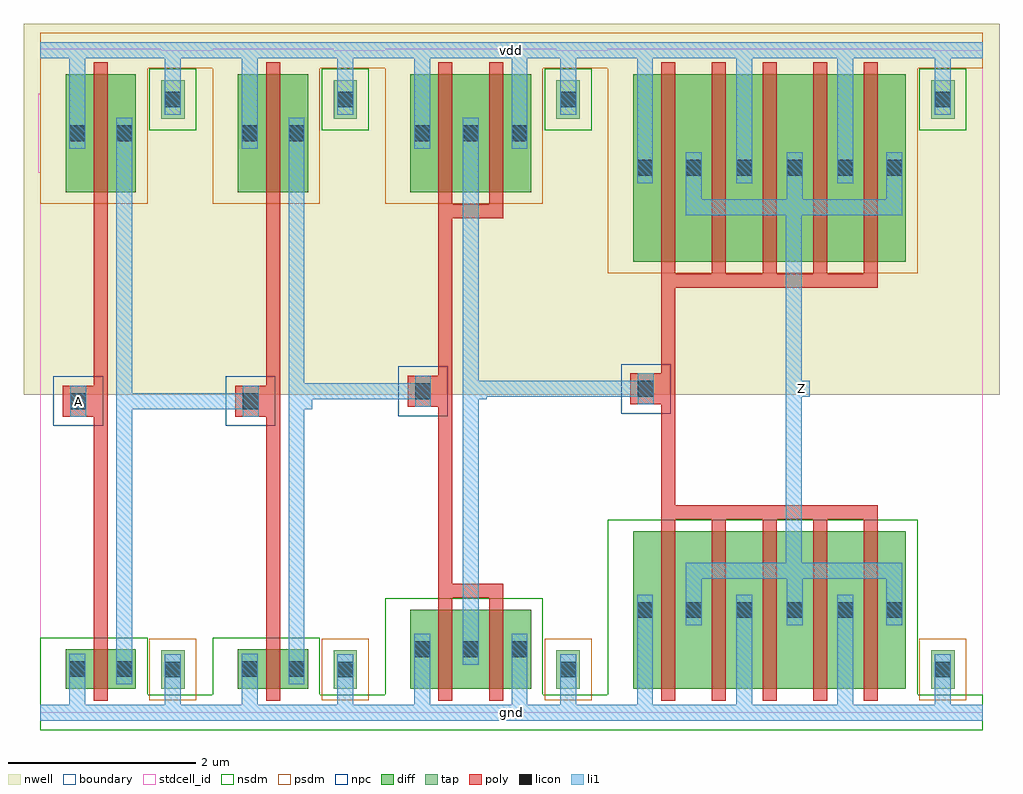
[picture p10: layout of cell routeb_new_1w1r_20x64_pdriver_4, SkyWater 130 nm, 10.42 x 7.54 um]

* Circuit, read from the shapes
.subckt routeb_new_1w1r_20x64_pdriver_4 A Z gnd vdd
XM1 routeb_new_1w1r_20x64_pinv_4_1/A A gnd gnd sky130_fd_pr__nfet_01v8 w=0.42 l=0.15
XM2 routeb_new_1w1r_20x64_pinv_5_2/A routeb_new_1w1r_20x64_pinv_4_1/A gnd gnd sky130_fd_pr__nfet_01v8 w=0.42 l=0.15
XM3 routeb_new_1w1r_20x64_pinv_9_3/A routeb_new_1w1r_20x64_pinv_5_2/A gnd gnd sky130_fd_pr__nfet_01v8 w=0.84 l=0.15 m=2
XM4 Z routeb_new_1w1r_20x64_pinv_9_3/A gnd gnd sky130_fd_pr__nfet_01v8 w=1.68 l=0.15 m=5
XM5 routeb_new_1w1r_20x64_pinv_4_1/A A vdd vdd sky130_fd_pr__pfet_01v8 w=1.26 l=0.15
XM6 routeb_new_1w1r_20x64_pinv_5_2/A routeb_new_1w1r_20x64_pinv_4_1/A vdd vdd sky130_fd_pr__pfet_01v8 w=1.26 l=0.15
XM7 routeb_new_1w1r_20x64_pinv_9_3/A routeb_new_1w1r_20x64_pinv_5_2/A vdd vdd sky130_fd_pr__pfet_01v8 w=1.26 l=0.15 m=2
XM8 Z routeb_new_1w1r_20x64_pinv_9_3/A vdd vdd sky130_fd_pr__pfet_01v8 w=2 l=0.15 m=5
.ends

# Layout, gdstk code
import gdstk
lib = gdstk.Library(unit=1e-6, precision=1e-09)
def R(c, l, rs):  # rectangles x0, y0, x1, y1
    for r in rs: c.add(gdstk.rectangle(r[:2], r[2:], *l))
def A(c, l, x, y, w, h, nx, ny, dx, dy):  # array of equal rectangles
    R(c, l, [(x+i*dx, y+j*dy, x+i*dx+w, y+j*dy+h) for i in range(nx) for j in range(ny)])
nwell = (64, 20)
diff = (65, 20)
tap = (65, 44)
poly = (66, 20)
licon = (66, 44)
li1 = (67, 20)
stdcell_id = (81, 4)
nsdm = (93, 44)
psdm = (94, 20)
npc = (95, 20)
boundary = (235, 4)

routeb_new_1w1r_20x64_co = lib.new_cell('routeb_new_1w1r_20x64_contact_11')
R(routeb_new_1w1r_20x64_co, nwell, [(-0.295,-0.255,0.545,0.585)])
R(routeb_new_1w1r_20x64_co, diff, [(0,0.02,0.25,0.31)])
R(routeb_new_1w1r_20x64_co, licon, [(0.04,0.08,0.21,0.25)])
R(routeb_new_1w1r_20x64_co, li1, [(0.04,0,0.21,0.33)])
R(routeb_new_1w1r_20x64_co, stdcell_id, [(-0.295,-0.255,0.545,0.585)])
R(routeb_new_1w1r_20x64_co, psdm, [(-0.125,-0.105,0.375,0.435)])
R(routeb_new_1w1r_20x64_co, boundary, [(-0.295,-0.255,0.545,0.585)])

routeb_new_1w1r_20x64_pm = lib.new_cell('routeb_new_1w1r_20x64_pmos_m1_w1_260_sli_dli_da_p')
R(routeb_new_1w1r_20x64_pm, nwell, [(-0.27,-0.27,1.02,1.53)])
R(routeb_new_1w1r_20x64_pm, diff, [(0,0,0.75,1.26)])
R(routeb_new_1w1r_20x64_pm, poly, [(0.3,-0.13,0.45,1.39), (0.3,-0.13,0.45,1.39)])
R(routeb_new_1w1r_20x64_pm, li1, [(0.04,0.465,0.21,0.795), (0.54,0.465,0.71,0.795)])
R(routeb_new_1w1r_20x64_pm, stdcell_id, [(-0.27,-0.27,1.02,1.53)])
R(routeb_new_1w1r_20x64_pm, psdm, [(-0.125,-0.125,0.875,1.385)])
R(routeb_new_1w1r_20x64_pm, boundary, [(-0.27,-0.27,1.02,1.53)])
routeb_new_1w1r_20x64_pm.add(gdstk.Reference(routeb_new_1w1r_20x64_co, (0,0.465)))
routeb_new_1w1r_20x64_pm.add(gdstk.Reference(routeb_new_1w1r_20x64_co, (0.5,0.465)))
routeb_new_1w1r_20x64_pm.add(gdstk.Label('G', (0.375,0.63), layer=66, texttype=5))
routeb_new_1w1r_20x64_pm.add(gdstk.Label('S', (0.125,0.63), layer=67, texttype=5))
routeb_new_1w1r_20x64_pm.add(gdstk.Label('D', (0.625,0.63), layer=67, texttype=5))

c_routeb_new_1w1r_20x64_co = lib.new_cell('routeb_new_1w1r_20x64_contact_10')
R(c_routeb_new_1w1r_20x64_co, diff, [(0,0.02,0.25,0.31)])
R(c_routeb_new_1w1r_20x64_co, licon, [(0.04,0.08,0.21,0.25)])
R(c_routeb_new_1w1r_20x64_co, li1, [(0.04,0,0.21,0.33)])
R(c_routeb_new_1w1r_20x64_co, stdcell_id, [(-0.125,-0.105,0.375,0.435)])
R(c_routeb_new_1w1r_20x64_co, nsdm, [(-0.125,-0.105,0.375,0.435)])
R(c_routeb_new_1w1r_20x64_co, boundary, [(-0.125,-0.105,0.375,0.435)])

routeb_new_1w1r_20x64_nm = lib.new_cell('routeb_new_1w1r_20x64_nmos_m1_w0_420_sli_dli_da_p')
R(routeb_new_1w1r_20x64_nm, diff, [(0,0,0.75,0.42)])
R(routeb_new_1w1r_20x64_nm, poly, [(0.3,-0.13,0.45,0.55), (0.3,-0.13,0.45,0.55)])
R(routeb_new_1w1r_20x64_nm, li1, [(0.04,0.045,0.21,0.375), (0.54,0.045,0.71,0.375)])
R(routeb_new_1w1r_20x64_nm, stdcell_id, [(-0.125,-0.13,0.875,0.55)])
R(routeb_new_1w1r_20x64_nm, nsdm, [(-0.125,-0.125,0.875,0.545)])
R(routeb_new_1w1r_20x64_nm, boundary, [(-0.125,-0.13,0.875,0.55)])
routeb_new_1w1r_20x64_nm.add(gdstk.Reference(c_routeb_new_1w1r_20x64_co, (0,0.045)))
routeb_new_1w1r_20x64_nm.add(gdstk.Reference(c_routeb_new_1w1r_20x64_co, (0.5,0.045)))
routeb_new_1w1r_20x64_nm.add(gdstk.Label('G', (0.375,0.21), layer=66, texttype=5))
routeb_new_1w1r_20x64_nm.add(gdstk.Label('S', (0.125,0.21), layer=67, texttype=5))
routeb_new_1w1r_20x64_nm.add(gdstk.Label('D', (0.625,0.21), layer=67, texttype=5))

c_routeb_new_1w1r_20x64_co_ = lib.new_cell('routeb_new_1w1r_20x64_contact_24')
R(c_routeb_new_1w1r_20x64_co_, nwell, [(-0.295,-0.215,0.545,0.625)])
R(c_routeb_new_1w1r_20x64_co_, tap, [(0,0,0.25,0.41)])
R(c_routeb_new_1w1r_20x64_co_, licon, [(0.04,0.12,0.21,0.29)])
R(c_routeb_new_1w1r_20x64_co_, li1, [(0.04,0.04,0.21,0.37)])
R(c_routeb_new_1w1r_20x64_co_, stdcell_id, [(-0.295,-0.215,0.545,0.625)])
R(c_routeb_new_1w1r_20x64_co_, nsdm, [(-0.125,-0.125,0.375,0.535)])
R(c_routeb_new_1w1r_20x64_co_, boundary, [(-0.295,-0.215,0.545,0.625)])

c_routeb_new_1w1r_20x64_co__ = lib.new_cell('routeb_new_1w1r_20x64_contact_25')
R(c_routeb_new_1w1r_20x64_co__, tap, [(0,0,0.25,0.41)])
R(c_routeb_new_1w1r_20x64_co__, licon, [(0.04,0.12,0.21,0.29)])
R(c_routeb_new_1w1r_20x64_co__, li1, [(0.04,0.04,0.21,0.37)])
R(c_routeb_new_1w1r_20x64_co__, stdcell_id, [(-0.125,-0.125,0.375,0.535)])
R(c_routeb_new_1w1r_20x64_co__, psdm, [(-0.125,-0.125,0.375,0.535)])
R(c_routeb_new_1w1r_20x64_co__, boundary, [(-0.125,-0.125,0.375,0.535)])

c_routeb_new_1w1r_20x64_co___ = lib.new_cell('routeb_new_1w1r_20x64_contact_15')
R(c_routeb_new_1w1r_20x64_co___, poly, [(0,0,0.33,0.33)])
R(c_routeb_new_1w1r_20x64_co___, licon, [(0.08,0.08,0.25,0.25)])
R(c_routeb_new_1w1r_20x64_co___, li1, [(0.08,0,0.25,0.33)])
R(c_routeb_new_1w1r_20x64_co___, stdcell_id, [(-0.1,-0.1,0.43,0.43)])
R(c_routeb_new_1w1r_20x64_co___, npc, [(-0.1,-0.1,0.43,0.43)])
R(c_routeb_new_1w1r_20x64_co___, boundary, [(-0.1,-0.1,0.43,0.43)])

routeb_new_1w1r_20x64_pi = lib.new_cell('routeb_new_1w1r_20x64_pinv_4')
R(routeb_new_1w1r_20x64_pi, nwell, [(-0.18,3.395,2.02,7.355)])
R(routeb_new_1w1r_20x64_pi, poly, [(0.57,0.805,0.72,5.425), (0.405,3.16,0.57,3.49)])
R(routeb_new_1w1r_20x64_pi, li1, [(0,-0.085,1.84,0.085), (0.31,-0.085,0.48,0.3), (1.33,0,1.5,0.46), (0.81,0.3,0.98,6.35), (0.32,3.16,0.49,3.49), (0.895,3.24,1.065,3.41), (0.31,6.02,0.48,7.155), (1.33,6.545,1.5,7.07), (0,6.985,1.84,7.155)])
R(routeb_new_1w1r_20x64_pi, stdcell_id, [(0,0,1.84,7.07), (0,0,1.84,7.07)])
R(routeb_new_1w1r_20x64_pi, nsdm, [(0,-0.19,1.84,0.19), (0,0,1.145,0.8)])
R(routeb_new_1w1r_20x64_pi, psdm, [(0,5.43,1.145,7.07), (0,6.88,1.84,7.26)])
R(routeb_new_1w1r_20x64_pi, boundary, [(0,0,1.84,7.07), (0,0,1.84,7.07)])
routeb_new_1w1r_20x64_pi.add(gdstk.Reference(routeb_new_1w1r_20x64_pm, (0.27,5.555)))
routeb_new_1w1r_20x64_pi.add(gdstk.Reference(routeb_new_1w1r_20x64_nm, (0.27,0.255)))
routeb_new_1w1r_20x64_pi.add(gdstk.Reference(c_routeb_new_1w1r_20x64_co_, (1.29,6.34)))
routeb_new_1w1r_20x64_pi.add(gdstk.Reference(c_routeb_new_1w1r_20x64_co__, (1.29,0.255)))
routeb_new_1w1r_20x64_pi.add(gdstk.Reference(c_routeb_new_1w1r_20x64_co___, (0.24,3.16)))
routeb_new_1w1r_20x64_pi.add(gdstk.Label('A', (0.405,3.325), layer=67, texttype=5))
routeb_new_1w1r_20x64_pi.add(gdstk.Label('Z', (0.98,3.325), layer=67, texttype=5))
routeb_new_1w1r_20x64_pi.add(gdstk.Label('gnd', (0.92,0), layer=67, texttype=5))
routeb_new_1w1r_20x64_pi.add(gdstk.Label('vdd', (0.92,7.07), layer=67, texttype=5))

c_routeb_new_1w1r_20x64_pm = lib.new_cell('routeb_new_1w1r_20x64_pmos_m2_w1_260_sli_dli_da_p')
R(c_routeb_new_1w1r_20x64_pm, nwell, [(-0.27,-0.27,1.56,1.53)])
R(c_routeb_new_1w1r_20x64_pm, diff, [(0,0,1.29,1.26)])
R(c_routeb_new_1w1r_20x64_pm, poly, [(0.3,-0.28,0.99,-0.13), (0.3,-0.13,0.45,1.39), (0.84,-0.13,0.99,1.39)])
A(c_routeb_new_1w1r_20x64_pm, li1, 0.04, 0.465, 0.17, 0.33, 3, 1, 0.52, 0)
R(c_routeb_new_1w1r_20x64_pm, stdcell_id, [(-0.27,-0.28,1.56,1.53)])
R(c_routeb_new_1w1r_20x64_pm, psdm, [(-0.125,-0.125,1.415,1.385)])
R(c_routeb_new_1w1r_20x64_pm, boundary, [(-0.27,-0.28,1.56,1.53)])
c_routeb_new_1w1r_20x64_pm.add(gdstk.Reference(routeb_new_1w1r_20x64_co, (0,0.465)))
c_routeb_new_1w1r_20x64_pm.add(gdstk.Reference(routeb_new_1w1r_20x64_co, (0.52,0.465)))
c_routeb_new_1w1r_20x64_pm.add(gdstk.Reference(routeb_new_1w1r_20x64_co, (1.04,0.465)))
c_routeb_new_1w1r_20x64_pm.add(gdstk.Label('G', (0.645,-0.205), layer=66, texttype=5))
c_routeb_new_1w1r_20x64_pm.add(gdstk.Label('S', (1.165,0.63), layer=67, texttype=5))
c_routeb_new_1w1r_20x64_pm.add(gdstk.Label('S', (0.125,0.63), layer=67, texttype=5))
c_routeb_new_1w1r_20x64_pm.add(gdstk.Label('D', (0.645,0.63), layer=67, texttype=5))

c_routeb_new_1w1r_20x64_nm = lib.new_cell('routeb_new_1w1r_20x64_nmos_m2_w0_840_sli_dli_da_p')
R(c_routeb_new_1w1r_20x64_nm, diff, [(0,0,1.29,0.84)])
R(c_routeb_new_1w1r_20x64_nm, poly, [(0.3,-0.13,0.45,0.97), (0.84,-0.13,0.99,0.97), (0.3,0.97,0.99,1.12)])
A(c_routeb_new_1w1r_20x64_nm, li1, 0.04, 0.255, 0.17, 0.33, 3, 1, 0.52, 0)
R(c_routeb_new_1w1r_20x64_nm, stdcell_id, [(-0.125,-0.13,1.415,1.12)])
R(c_routeb_new_1w1r_20x64_nm, nsdm, [(-0.125,-0.125,1.415,0.965)])
R(c_routeb_new_1w1r_20x64_nm, boundary, [(-0.125,-0.13,1.415,1.12)])
c_routeb_new_1w1r_20x64_nm.add(gdstk.Reference(c_routeb_new_1w1r_20x64_co, (0,0.255)))
c_routeb_new_1w1r_20x64_nm.add(gdstk.Reference(c_routeb_new_1w1r_20x64_co, (0.52,0.255)))
c_routeb_new_1w1r_20x64_nm.add(gdstk.Reference(c_routeb_new_1w1r_20x64_co, (1.04,0.255)))
c_routeb_new_1w1r_20x64_nm.add(gdstk.Label('G', (0.645,1.045), layer=66, texttype=5))
c_routeb_new_1w1r_20x64_nm.add(gdstk.Label('S', (1.165,0.42), layer=67, texttype=5))
c_routeb_new_1w1r_20x64_nm.add(gdstk.Label('S', (0.125,0.42), layer=67, texttype=5))
c_routeb_new_1w1r_20x64_nm.add(gdstk.Label('D', (0.645,0.42), layer=67, texttype=5))

c_routeb_new_1w1r_20x64_pi = lib.new_cell('routeb_new_1w1r_20x64_pinv_5')
R(c_routeb_new_1w1r_20x64_pi, nwell, [(-0.18,3.395,2.56,7.355)])
R(c_routeb_new_1w1r_20x64_pi, poly, [(0.57,1.375,0.72,5.275), (0.405,3.265,0.57,3.595)])
R(c_routeb_new_1w1r_20x64_pi, li1, [(0,-0.085,2.38,0.085), (0.31,-0.085,0.48,0.51), (1.35,-0.085,1.52,0.51), (1.87,0,2.04,0.46), (0.83,0.51,1,6.35), (0.32,3.265,0.49,3.595), (0.915,3.345,1.085,3.515), (0.31,6.02,0.48,7.155), (1.35,6.02,1.52,7.155), (1.87,6.545,2.04,7.07), (0,6.985,2.38,7.155)])
R(c_routeb_new_1w1r_20x64_pi, stdcell_id, [(0,0,2.38,7.07), (0,0,2.38,7.07)])
R(c_routeb_new_1w1r_20x64_pi, nsdm, [(0,-0.19,2.38,0.19), (0,0,1.685,1.22)])
R(c_routeb_new_1w1r_20x64_pi, psdm, [(0,5.43,1.685,7.07), (0,6.88,2.38,7.26)])
R(c_routeb_new_1w1r_20x64_pi, boundary, [(0,0,2.38,7.07), (0,0,2.38,7.07)])
c_routeb_new_1w1r_20x64_pi.add(gdstk.Reference(c_routeb_new_1w1r_20x64_pm, (0.27,5.555)))
c_routeb_new_1w1r_20x64_pi.add(gdstk.Reference(c_routeb_new_1w1r_20x64_nm, (0.27,0.255)))
c_routeb_new_1w1r_20x64_pi.add(gdstk.Reference(c_routeb_new_1w1r_20x64_co_, (1.83,6.34)))
c_routeb_new_1w1r_20x64_pi.add(gdstk.Reference(c_routeb_new_1w1r_20x64_co__, (1.83,0.255)))
c_routeb_new_1w1r_20x64_pi.add(gdstk.Reference(c_routeb_new_1w1r_20x64_co___, (0.24,3.265)))
c_routeb_new_1w1r_20x64_pi.add(gdstk.Label('A', (0.405,3.43), layer=67, texttype=5))
c_routeb_new_1w1r_20x64_pi.add(gdstk.Label('Z', (1,3.43), layer=67, texttype=5))
c_routeb_new_1w1r_20x64_pi.add(gdstk.Label('gnd', (1.19,0), layer=67, texttype=5))
c_routeb_new_1w1r_20x64_pi.add(gdstk.Label('vdd', (1.19,7.07), layer=67, texttype=5))

c_routeb_new_1w1r_20x64_pm_ = lib.new_cell('routeb_new_1w1r_20x64_pmos_m5_w2_000_sli_dli_da_p')
R(c_routeb_new_1w1r_20x64_pm_, nwell, [(-0.27,-0.27,3.18,2.27)])
R(c_routeb_new_1w1r_20x64_pm_, diff, [(0,0,2.91,2)])
A(c_routeb_new_1w1r_20x64_pm_, poly, 0.3, -0.13, 0.15, 2.26, 5, 1, 0.54, 0)
R(c_routeb_new_1w1r_20x64_pm_, poly, [(0.3,-0.28,2.61,-0.13)])
R(c_routeb_new_1w1r_20x64_pm_, li1, [(0.56,0.495,2.87,0.665), (0.56,0.58,0.73,1), (1.64,0.58,1.81,1), (2.7,0.58,2.87,1), (0.04,0.835,0.21,1.165), (1.1,0.835,1.27,1.165), (2.18,0.835,2.35,1.165)])
R(c_routeb_new_1w1r_20x64_pm_, stdcell_id, [(-0.27,-0.28,3.18,2.27)])
R(c_routeb_new_1w1r_20x64_pm_, psdm, [(-0.125,-0.125,3.035,2.125)])
R(c_routeb_new_1w1r_20x64_pm_, boundary, [(-0.27,-0.28,3.18,2.27)])
c_routeb_new_1w1r_20x64_pm_.add(gdstk.Reference(routeb_new_1w1r_20x64_co, (0,0.835)))
c_routeb_new_1w1r_20x64_pm_.add(gdstk.Reference(routeb_new_1w1r_20x64_co, (0.52,0.835)))
c_routeb_new_1w1r_20x64_pm_.add(gdstk.Reference(routeb_new_1w1r_20x64_co, (1.06,0.835)))
c_routeb_new_1w1r_20x64_pm_.add(gdstk.Reference(routeb_new_1w1r_20x64_co, (1.6,0.835)))
c_routeb_new_1w1r_20x64_pm_.add(gdstk.Reference(routeb_new_1w1r_20x64_co, (2.14,0.835)))
c_routeb_new_1w1r_20x64_pm_.add(gdstk.Reference(routeb_new_1w1r_20x64_co, (2.66,0.835)))
c_routeb_new_1w1r_20x64_pm_.add(gdstk.Label('G', (1.455,-0.205), layer=66, texttype=5))
c_routeb_new_1w1r_20x64_pm_.add(gdstk.Label('S', (1.185,1), layer=67, texttype=5))
c_routeb_new_1w1r_20x64_pm_.add(gdstk.Label('S', (0.125,1), layer=67, texttype=5))
c_routeb_new_1w1r_20x64_pm_.add(gdstk.Label('S', (2.265,1), layer=67, texttype=5))
c_routeb_new_1w1r_20x64_pm_.add(gdstk.Label('D', (1.715,0.58), layer=67, texttype=5))

c_routeb_new_1w1r_20x64_nm_ = lib.new_cell('routeb_new_1w1r_20x64_nmos_m5_w1_680_sli_dli_da_p')
R(c_routeb_new_1w1r_20x64_nm_, diff, [(0,0,2.91,1.68)])
A(c_routeb_new_1w1r_20x64_nm_, poly, 0.3, -0.13, 0.15, 1.94, 5, 1, 0.54, 0)
R(c_routeb_new_1w1r_20x64_nm_, poly, [(0.3,1.81,2.61,1.96)])
R(c_routeb_new_1w1r_20x64_nm_, li1, [(0.04,0.675,0.21,1.005), (1.1,0.675,1.27,1.005), (2.18,0.675,2.35,1.005), (0.56,0.84,0.73,1.26), (1.64,0.84,1.81,1.26), (2.7,0.84,2.87,1.26), (0.56,1.175,2.87,1.345)])
R(c_routeb_new_1w1r_20x64_nm_, stdcell_id, [(-0.125,-0.13,3.035,1.96)])
R(c_routeb_new_1w1r_20x64_nm_, nsdm, [(-0.125,-0.125,3.035,1.805)])
R(c_routeb_new_1w1r_20x64_nm_, boundary, [(-0.125,-0.13,3.035,1.96)])
c_routeb_new_1w1r_20x64_nm_.add(gdstk.Reference(c_routeb_new_1w1r_20x64_co, (0,0.675)))
c_routeb_new_1w1r_20x64_nm_.add(gdstk.Reference(c_routeb_new_1w1r_20x64_co, (0.52,0.675)))
c_routeb_new_1w1r_20x64_nm_.add(gdstk.Reference(c_routeb_new_1w1r_20x64_co, (1.06,0.675)))
c_routeb_new_1w1r_20x64_nm_.add(gdstk.Reference(c_routeb_new_1w1r_20x64_co, (1.6,0.675)))
c_routeb_new_1w1r_20x64_nm_.add(gdstk.Reference(c_routeb_new_1w1r_20x64_co, (2.14,0.675)))
c_routeb_new_1w1r_20x64_nm_.add(gdstk.Reference(c_routeb_new_1w1r_20x64_co, (2.66,0.675)))
c_routeb_new_1w1r_20x64_nm_.add(gdstk.Label('G', (1.455,1.885), layer=66, texttype=5))
c_routeb_new_1w1r_20x64_nm_.add(gdstk.Label('S', (0.125,0.84), layer=67, texttype=5))
c_routeb_new_1w1r_20x64_nm_.add(gdstk.Label('S', (1.185,0.84), layer=67, texttype=5))
c_routeb_new_1w1r_20x64_nm_.add(gdstk.Label('S', (2.265,0.84), layer=67, texttype=5))
c_routeb_new_1w1r_20x64_nm_.add(gdstk.Label('D', (1.715,1.26), layer=67, texttype=5))

c_routeb_new_1w1r_20x64_pi_ = lib.new_cell('routeb_new_1w1r_20x64_pinv_9')
R(c_routeb_new_1w1r_20x64_pi_, nwell, [(-0.18,3.395,4.18,7.355)])
R(c_routeb_new_1w1r_20x64_pi_, poly, [(0.57,2.215,0.72,4.535), (0.405,3.29,0.57,3.62)])
R(c_routeb_new_1w1r_20x64_pi_, li1, [(0,-0.085,4,0.085), (0.31,-0.085,0.48,0.93), (1.37,-0.085,1.54,0.93), (2.45,-0.085,2.62,0.93), (3.49,0,3.66,0.46), (1.9,1.43,2.07,5.48), (0.32,3.29,0.49,3.62), (1.985,3.37,2.155,3.54), (0.31,5.65,0.48,7.155), (1.37,5.65,1.54,7.155), (2.45,5.65,2.62,7.155), (3.49,6.545,3.66,7.07), (0,6.985,4,7.155)])
R(c_routeb_new_1w1r_20x64_pi_, stdcell_id, [(0,0,4,7.07), (0,0,4,7.07)])
R(c_routeb_new_1w1r_20x64_pi_, nsdm, [(0,-0.19,4,0.19), (0,0,3.305,2.06)])
R(c_routeb_new_1w1r_20x64_pi_, psdm, [(0,4.69,3.305,7.07), (0,6.88,4,7.26)])
R(c_routeb_new_1w1r_20x64_pi_, boundary, [(0,0,4,7.07), (0,0,4,7.07)])
c_routeb_new_1w1r_20x64_pi_.add(gdstk.Reference(c_routeb_new_1w1r_20x64_pm_, (0.27,4.815)))
c_routeb_new_1w1r_20x64_pi_.add(gdstk.Reference(c_routeb_new_1w1r_20x64_nm_, (0.27,0.255)))
c_routeb_new_1w1r_20x64_pi_.add(gdstk.Reference(c_routeb_new_1w1r_20x64_co_, (3.45,6.34)))
c_routeb_new_1w1r_20x64_pi_.add(gdstk.Reference(c_routeb_new_1w1r_20x64_co__, (3.45,0.255)))
c_routeb_new_1w1r_20x64_pi_.add(gdstk.Reference(c_routeb_new_1w1r_20x64_co___, (0.24,3.29)))
c_routeb_new_1w1r_20x64_pi_.add(gdstk.Label('A', (0.405,3.455), layer=67, texttype=5))
c_routeb_new_1w1r_20x64_pi_.add(gdstk.Label('Z', (2.07,3.455), layer=67, texttype=5))
c_routeb_new_1w1r_20x64_pi_.add(gdstk.Label('gnd', (2,0), layer=67, texttype=5))
c_routeb_new_1w1r_20x64_pi_.add(gdstk.Label('vdd', (2,7.07), layer=67, texttype=5))

routeb_new_1w1r_20x64_pd = lib.new_cell('routeb_new_1w1r_20x64_pdriver_4')
R(routeb_new_1w1r_20x64_pd, nwell, [(-0.18,3.395,10.24,7.355)])
R(routeb_new_1w1r_20x64_pd, li1, [(0,-0.085,10.06,0.085), (0.32,3.16,0.49,3.49), (0.98,3.24,2.245,3.41), (2.735,3.325,2.905,3.43), (2.735,3.345,2.905,3.515), (2.82,3.345,4.085,3.515), (4.595,3.37,4.765,3.54), (4.68,3.37,6.465,3.54), (8.045,3.37,8.215,3.54), (4.595,3.43,4.765,3.455), (0,6.985,10.06,7.155)])
R(routeb_new_1w1r_20x64_pd, stdcell_id, [(0,0,10.06,7.07), (0,0,10.06,7.07)])
R(routeb_new_1w1r_20x64_pd, nsdm, [(0,-0.19,10.06,0.19)])
R(routeb_new_1w1r_20x64_pd, psdm, [(0,6.88,10.06,7.26)])
R(routeb_new_1w1r_20x64_pd, boundary, [(0,0,10.06,7.07), (0,0,10.06,7.07)])
routeb_new_1w1r_20x64_pd.add(gdstk.Reference(routeb_new_1w1r_20x64_pi, (0,0)))
routeb_new_1w1r_20x64_pd.add(gdstk.Reference(routeb_new_1w1r_20x64_pi, (1.84,0)))
routeb_new_1w1r_20x64_pd.add(gdstk.Reference(c_routeb_new_1w1r_20x64_pi, (3.68,0)))
routeb_new_1w1r_20x64_pd.add(gdstk.Reference(c_routeb_new_1w1r_20x64_pi_, (6.06,0)))
routeb_new_1w1r_20x64_pd.add(gdstk.Label('Z', (8.13,3.455), layer=67, texttype=5))
routeb_new_1w1r_20x64_pd.add(gdstk.Label('A', (0.405,3.325), layer=67, texttype=5))
routeb_new_1w1r_20x64_pd.add(gdstk.Label('gnd', (5.03,0), layer=67, texttype=5))
routeb_new_1w1r_20x64_pd.add(gdstk.Label('vdd', (5.03,7.07), layer=67, texttype=5))

lib.write_gds('routeb_new_1w1r_20x64_pdriver_4.gds')
